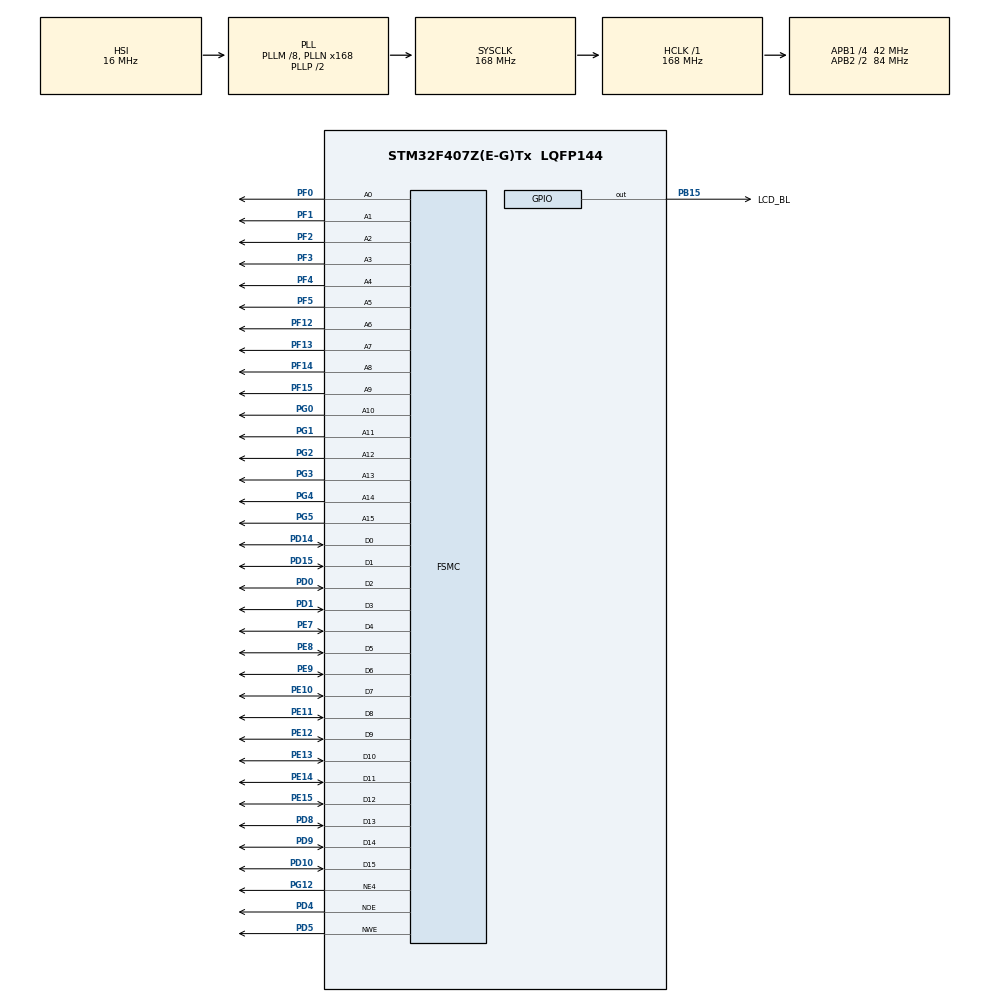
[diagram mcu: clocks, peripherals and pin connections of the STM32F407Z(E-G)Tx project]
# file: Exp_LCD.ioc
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FSMC.BusTurnAroundDuration1=0
FSMC.DataSetupTime1=60
FSMC.ExtendedAddressSetupTime1=3
FSMC.ExtendedBusTurnAroundDuration1=0
FSMC.ExtendedDataSetupTime1=3
FSMC.ExtendedMode1=FSMC_EXTENDED_MODE_ENABLE
FSMC.WriteOperation1=FSMC_WRITE_OPERATION_ENABLE
Mcu.Family=STM32F4
Mcu.Name=STM32F407Z(E-G)Tx
Mcu.Package=LQFP144
NVIC.PriorityGroup=NVIC_PRIORITYGROUP_4
PA13.Mode=Serial_Wire
PA13.Signal=SYS_JTMS-SWDIO
PA14.Mode=Serial_Wire
PA14.Signal=SYS_JTCK-SWCLK
PB15.GPIO_Label=LCD_BL
PB15.Signal=GPIO_Output
PD0.Signal=FSMC_D2_DA2
PD1.Signal=FSMC_D3_DA3
PD10.Signal=FSMC_D15_DA15
PD14.Signal=FSMC_D0_DA0
PD15.Signal=FSMC_D1_DA1
PD4.Signal=FSMC_NOE
PD5.Signal=FSMC_NWE
PD8.Signal=FSMC_D13_DA13
PD9.Signal=FSMC_D14_DA14
PE10.Signal=FSMC_D7_DA7
PE11.Signal=FSMC_D8_DA8
PE12.Signal=FSMC_D9_DA9
PE13.Signal=FSMC_D10_DA10
PE14.Signal=FSMC_D11_DA11
PE15.Signal=FSMC_D12_DA12
PE7.Signal=FSMC_D4_DA4
PE8.Signal=FSMC_D5_DA5
PE9.Signal=FSMC_D6_DA6
PF0.Signal=FSMC_A0
PF1.Signal=FSMC_A1
PF12.Signal=FSMC_A6
PF13.Signal=FSMC_A7
PF14.Signal=FSMC_A8
PF15.Signal=FSMC_A9
PF2.Signal=FSMC_A2
PF3.Signal=FSMC_A3
PF4.Signal=FSMC_A4
PF5.Signal=FSMC_A5
PG0.Signal=FSMC_A10
PG1.Signal=FSMC_A11
PG12.Mode=NorPsramChipSelect4_1
PG12.Signal=FSMC_NE4
PG2.Signal=FSMC_A12
PG3.Signal=FSMC_A13
PG4.Signal=FSMC_A14
PG5.Signal=FSMC_A15
PH0-OSC_IN.Mode=HSE-External-Oscillator
PH0-OSC_IN.Signal=RCC_OSC_IN
PH1-OSC_OUT.Mode=HSE-External-Oscillator
PH1-OSC_OUT.Signal=RCC_OSC_OUT
ProjectManager.HeapSize=0x200
ProjectManager.StackSize=0x400
ProjectManager.TargetToolchain=STM32CubeIDE
RCC.48MHZClocksFreq_Value=84000000
RCC.AHBFreq_Value=168000000
RCC.APB1CLKDivider=RCC_HCLK_DIV4
RCC.APB1Freq_Value=42000000
RCC.APB1TimFreq_Value=84000000
RCC.APB2CLKDivider=RCC_HCLK_DIV2
RCC.APB2Freq_Value=84000000
RCC.APB2TimFreq_Value=168000000
RCC.CortexFreq_Value=168000000
RCC.HCLKFreq_Value=168000000
RCC.HSE_VALUE=8000000
RCC.HSI_VALUE=16000000
RCC.LSE_VALUE=32768
RCC.PLLM=8
RCC.PLLN=168
RCC.SYSCLKFreq_VALUE=168000000
RCC.SYSCLKSource=RCC_SYSCLKSOURCE_PLLCLK
RCC.VCOOutputFreq_Value=336000000
SH.FSMC_A0.0=FSMC_A0,16b-a1
SH.FSMC_A1.0=FSMC_A1,16b-a1
SH.FSMC_A10.0=FSMC_A10,16b-a1
SH.FSMC_A11.0=FSMC_A11,16b-a1
SH.FSMC_A12.0=FSMC_A12,16b-a1
SH.FSMC_A13.0=FSMC_A13,16b-a1
SH.FSMC_A14.0=FSMC_A14,16b-a1
SH.FSMC_A15.0=FSMC_A15,16b-a1
SH.FSMC_A2.0=FSMC_A2,16b-a1
SH.FSMC_A3.0=FSMC_A3,16b-a1
SH.FSMC_A4.0=FSMC_A4,16b-a1
SH.FSMC_A5.0=FSMC_A5,16b-a1
SH.FSMC_A6.0=FSMC_A6,16b-a1
SH.FSMC_A7.0=FSMC_A7,16b-a1
SH.FSMC_A8.0=FSMC_A8,16b-a1
SH.FSMC_A9.0=FSMC_A9,16b-a1
SH.FSMC_D0_DA0.0=FSMC_D0,16b-d1
SH.FSMC_D10_DA10.0=FSMC_D10,16b-d1
SH.FSMC_D11_DA11.0=FSMC_D11,16b-d1
SH.FSMC_D12_DA12.0=FSMC_D12,16b-d1
SH.FSMC_D13_DA13.0=FSMC_D13,16b-d1
SH.FSMC_D14_DA14.0=FSMC_D14,16b-d1
SH.FSMC_D15_DA15.0=FSMC_D15,16b-d1
SH.FSMC_D1_DA1.0=FSMC_D1,16b-d1
SH.FSMC_D2_DA2.0=FSMC_D2,16b-d1
SH.FSMC_D3_DA3.0=FSMC_D3,16b-d1
SH.FSMC_D4_DA4.0=FSMC_D4,16b-d1
SH.FSMC_D5_DA5.0=FSMC_D5,16b-d1
SH.FSMC_D6_DA6.0=FSMC_D6,16b-d1
SH.FSMC_D7_DA7.0=FSMC_D7,16b-d1
SH.FSMC_D8_DA8.0=FSMC_D8,16b-d1
SH.FSMC_D9_DA9.0=FSMC_D9,16b-d1
SH.FSMC_NOE.0=FSMC_NOE,Sram1
SH.FSMC_NWE.0=FSMC_NWE,Sram1
board=custom

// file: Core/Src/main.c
/* USER CODE BEGIN Header */
/**
  ******************************************************************************
  * @file           : main.c
  * @brief          : Main program body
  ******************************************************************************
  * @attention
  *
  * Copyright (c) 2026 STMicroelectronics.
  * All rights reserved.
  *
  * This software is licensed under terms that can be found in the LICENSE file
  * in the root directory of this software component.
  * If no LICENSE file comes with this software, it is provided AS-IS.
  *
  ******************************************************************************
  */
/* USER CODE END Header */
#include "main.h"
#include "gpio.h"
#include "fsmc.h"
#include "lcd.h"

void SystemClock_Config(void);

int main(void)
{

  /* MCU Configuration--------------------------------------------------------*/

  /* Reset of all peripherals, Initializes the Flash interface and the Systick. */
  HAL_Init();

  /* Configure the system clock */
  SystemClock_Config();

  /* Initialize all configured peripherals */
  MX_GPIO_Init();
  MX_FSMC_Init();
  /* USER CODE BEGIN 2 */

  lcd_init();
  lcd_clear(BLACK);

  g_point_color = WHITE;
  g_back_color  = BLACK;

  lcd_show_string(10,  10, 220, 16, 16,  "Exp_LCD Test",          WHITE);
  lcd_show_string(10,  30, 220, 16, 16,  "Black BG / White FG",   WHITE);

  lcd_show_string(10,  60, 220, 12, 12,  "Size 12: The quick fox",WHITE);
  lcd_show_string(10,  80, 220, 16, 16,  "Size 16: Hello, world!",WHITE);
  lcd_show_string(10, 110, 220, 24, 24,  "Size 24: 12345",        WHITE);
  lcd_show_string(10, 150, 220, 32, 32,  "Size 32",               WHITE);

  lcd_show_string(10, 200, 60, 16, 16, "Count:",  WHITE);
  lcd_show_num(80, 200, 12345, 5, 16, WHITE);

  lcd_show_string(10, 230, 60, 16, 16, "Pad0:",  WHITE);
  lcd_show_xnum(80, 230, 42, 6, 16, 0x80, WHITE);

  /* USER CODE END 2 */

  /* Infinite loop */
  while (1)
  {

  }
}

void SystemClock_Config(void)
{
  RCC_OscInitTypeDef RCC_OscInitStruct = {0};
  RCC_ClkInitTypeDef RCC_ClkInitStruct = {0};

  /** Configure the main internal regulator output voltage
  */
  __HAL_RCC_PWR_CLK_ENABLE();
  __HAL_PWR_VOLTAGESCALING_CONFIG(PWR_REGULATOR_VOLTAGE_SCALE1);

  /** Initializes the RCC Oscillators according to the specified parameters
  * in the RCC_OscInitTypeDef structure.
  */
  RCC_OscInitStruct.OscillatorType = RCC_OSCILLATORTYPE_HSI;
  RCC_OscInitStruct.HSIState = RCC_HSI_ON;
  RCC_OscInitStruct.HSICalibrationValue = RCC_HSICALIBRATION_DEFAULT;
  RCC_OscInitStruct.PLL.PLLState = RCC_PLL_ON;
  RCC_OscInitStruct.PLL.PLLSource = RCC_PLLSOURCE_HSI;
  RCC_OscInitStruct.PLL.PLLM = 8;
  RCC_OscInitStruct.PLL.PLLN = 168;
  RCC_OscInitStruct.PLL.PLLP = RCC_PLLP_DIV2;
  RCC_OscInitStruct.PLL.PLLQ = 4;
  if (HAL_RCC_OscConfig(&RCC_OscInitStruct) != HAL_OK)
  {
    Error_Handler();
  }

  /** Initializes the CPU, AHB and APB buses clocks
  */
  RCC_ClkInitStruct.ClockType = RCC_CLOCKTYPE_HCLK|RCC_CLOCKTYPE_SYSCLK
                              |RCC_CLOCKTYPE_PCLK1|RCC_CLOCKTYPE_PCLK2;
  RCC_ClkInitStruct.SYSCLKSource = RCC_SYSCLKSOURCE_PLLCLK;
  RCC_ClkInitStruct.AHBCLKDivider = RCC_SYSCLK_DIV1;
  RCC_ClkInitStruct.APB1CLKDivider = RCC_HCLK_DIV4;
  RCC_ClkInitStruct.APB2CLKDivider = RCC_HCLK_DIV2;

  if (HAL_RCC_ClockConfig(&RCC_ClkInitStruct, FLASH_LATENCY_5) != HAL_OK)
  {
    Error_Handler();
  }
}

/* USER CODE BEGIN 4 */

/* 桩函数: 让 lcd_init() 里的 printf 不再卡死.
 * 后续若要启用 USART1 调试打印, 在此改为实际串口发送即可. */
int __io_putchar(int ch)
{
  return ch;
}

/* USER CODE END 4 */

void Error_Handler(void)
{
  __disable_irq();
  while (1)
  {
  }
}
